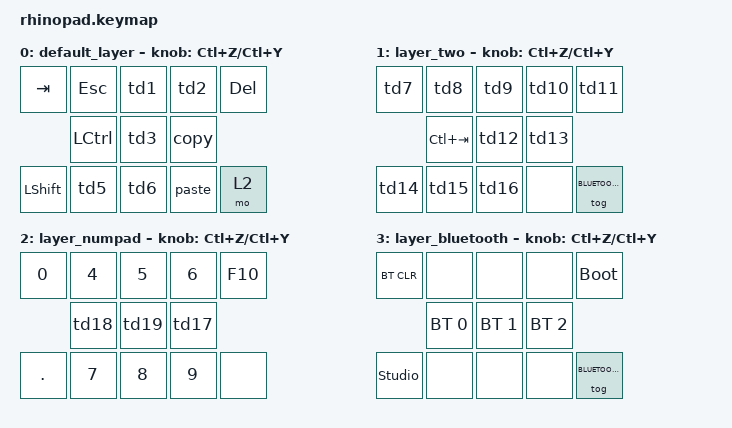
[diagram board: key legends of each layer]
#include <behaviors.dtsi>
#include <dt-bindings/zmk/keys.h>
#include <dt-bindings/zmk/bt.h>

&pinctrl {
    spi0_default: spi0_default {
        group1 {
            psels = <NRF_PSEL(SPIM_SCK, 0, 20)>,
                <NRF_PSEL(SPIM_MOSI, 0, 17)>,
                <NRF_PSEL(SPIM_MISO, 0, 25)>;
        };
    };
    spi0_sleep: spi0_sleep {
        group1 {
            psels = <NRF_PSEL(SPIM_SCK, 0, 20)>,
                <NRF_PSEL(SPIM_MOSI, 0, 17)>,
                <NRF_PSEL(SPIM_MISO, 0, 25)>;
            low-power-enable;
        };
    };
};

nice_view_spi: &spi0 {
    compatible = "nordic,nrf-spim";
    pinctrl-0 = <&spi0_default>;
    pinctrl-1 = <&spi0_sleep>;
    pinctrl-names = "default", "sleep";
    cs-gpios = <&pro_micro 1 GPIO_ACTIVE_HIGH>;
};

&pro_micro_i2c {
    status = "disabled";
};


#define LAYERZERO 0
#define LAYERTWO 1
#define NUMPAD 2
#define BLUETOOTH 3 

/ {

    behaviors {
        
    rot_kp: behavior_sensor_rotate_kp {
            compatible = "zmk,behavior-sensor-rotate-var";
            label = "ENC_KP";
            #sensor-binding-cells = <2>;
            bindings = <&kp>, <&kp>;
        };
       
    td1: tap_dance_1 {
            compatible = "zmk,behavior-tap-dance";
            label = "Move, Copy";
            #binding-cells = <0>;
            tapping-term-ms = <300>;
            bindings = <&kp LC(F1)>, <&kp LC(F2)>;
        };

    td2: tap_dance_2 {
            compatible = "zmk,behavior-tap-dance";
            label = "Split, Trim, Boolean Split";
            #binding-cells = <0>;
            tapping-term-ms = <300>;
            bindings = <&kp LC(F3)>, <&kp LC(F4)>, <&kp LC(F5)>;
        };

    td3: tap_dance_3 {
            compatible = "zmk,behavior-tap-dance";
            label = "Join, Explode, MergeCoplanarSrf";
            #binding-cells = <0>;
            tapping-term-ms = <300>;
            bindings = <&kp LC(F6)>, <&kp LC(F7)>, <&kp LC(LS(9))>;
        };

    td4: tap_dance_4 {
            compatible = "zmk,behavior-tap-dance";
            label = "Zoom Window, Zoom Selected";
            #binding-cells = <0>;
            tapping-term-ms = <300>;
            bindings = <&kp LC(F8)>, <&kp LC(F9)>;
        };

    td5: tap_dance_5 {
            compatible = "zmk,behavior-tap-dance";
            label = "Extrude Curve, Planarsrf";
            #binding-cells = <0>;
            tapping-term-ms = <300>;
            bindings = <&kp LC(F10)>, <&kp LC(F11)>;
        };

    td6: tap_dance_6 {
            compatible = "zmk,behavior-tap-dance";
            label = "Scale, Scale1D";
            #binding-cells = <0>;
            tapping-term-ms = <300>;
            bindings = <&kp LC(F12)>, <&kp LC(LS(F1))>;
        };

    td7: tap_dance_7 {
            compatible = "zmk,behavior-tap-dance";
            label = "Isolate, ";
            #binding-cells = <0>;
            tapping-term-ms = <300>;
            bindings = <&kp LC(LS(F2))>, <&kp LC(LS(F3))>;
        };

    td8: tap_dance_8 {
            compatible = "zmk,behavior-tap-dance";
            label = "BooleanUnion, CurveBoolean";
            #binding-cells = <0>;
            tapping-term-ms = <300>;
            bindings = <&kp LC(LS(F4))>, <&kp LC(LS(F5))>;
        };

    td9: tap_dance_9 {
            compatible = "zmk,behavior-tap-dance";
            label = "Rotate, Rotate3D";
            #binding-cells = <0>;
            tapping-term-ms = <300>;
            bindings = <&kp LC(LS(F6))>, <&kp LC(LS(F7))>;
        };

    td10: tap_dance_10 {
            compatible = "zmk,behavior-tap-dance";
            label = "Hide, Show";
            #binding-cells = <0>;
            tapping-term-ms = <300>;
            bindings = <&kp LC(LS(F8))>, <&kp LC(LS(F9))>;
        };
        
    td11: tap_dance_11 {
            compatible = "zmk,behavior-tap-dance";
            label = "Offset, OffsetSrf";
            #binding-cells = <0>;
            tapping-term-ms = <300>;
            bindings = <&kp LC(LS(F10))>, <&kp LC(LS(F11))>;
        };

    td12: tap_dance_12 {
            compatible = "zmk,behavior-tap-dance";
            label = "Untrim3D, ExtendSrf";
            #binding-cells = <0>;
            tapping-term-ms = <300>;
            bindings = <&kp LC(LS(F12))>, <&kp LC(N0)>, <&kp LC(LS(A))>;
        };

    td13: tap_dance_13 {
            compatible = "zmk,behavior-tap-dance";
            label = "ExtractSrf, DupEdge, DupBorder";
            #binding-cells = <0>;
            tapping-term-ms = <300>;
            bindings = <&kp LC(N1)>, <&kp LC(N2)>, <&kp LC(N3)>;
        };

    td14: tap_dance_14 {
            compatible = "zmk,behavior-tap-dance";
            label = "Select Last, ";
            #binding-cells = <0>;
            tapping-term-ms = <300>;
            bindings = <&kp LC(N4)>, <&kp LC(N5)>, <&kp LC(LS(B))>;
        };

    td15: tap_dance_15 {
            compatible = "zmk,behavior-tap-dance";
            label = " ";
            #binding-cells = <0>;
            tapping-term-ms = <300>;
            bindings = <&kp LC(N6)>, <&kp LC(N7)>, <&kp LC(LS(C))>;
        };

    td16: tap_dance_16 {
            compatible = "zmk,behavior-tap-dance";
            label = "Project, Project To CPlane";
            #binding-cells = <0>;
            tapping-term-ms = <300>;
            bindings = <&kp LC(N8)>, <&kp LC(N9)>, <&kp LC(LS(D))>;
        };

    td17: tap_dance_17 {
            compatible = "zmk,behavior-tap-dance";
            label = "TBC, TBC";
            #binding-cells = <0>;
            tapping-term-ms = <300>;
            bindings = <&kp LC(LS(N1))>, <&kp LC(LS(N2))>;
        };

    td18: tap_dance_18 {
            compatible = "zmk,behavior-tap-dance";
            label = "Cplane2Srf, ResetCplaneTop, 3ptCplane";
            #binding-cells = <0>;
            tapping-term-ms = <300>;
            bindings = <&kp LC(LS(N3))>, <&kp LC(LS(N4))>, <&kp LC(LS(N5))>;
        };

    td19: tap_dance_19 {
            compatible = "zmk,behavior-tap-dance";
            label = "ShadedView GhostedView, MaterialView";
            #binding-cells = <0>;
            tapping-term-ms = <300>;
            bindings = <&kp LC(LS(N6))>, <&kp LC(LS(N7))>, <&kp LC(LS(N8))>;
        };

    copy: copy {
            compatible = "zmk,behavior-mod-morph";
            label = "copy";
            #binding-cells = <0>;
            bindings = <&td4>, <&kp LC(C)>;
            mods = <(MOD_LSFT)>;
        };

    paste: paste {
            compatible = "zmk,behavior-mod-morph";
            label = "paste";
            #binding-cells = <0>;
            bindings = <&mo 1>, <&kp LC(V)>;
            mods = <(MOD_LSFT)>;
        };
    };


    keymap {

        compatible = "zmk,keymap";

        default_layer {

    /*
    * ,----------------------------------.                      
    * | TAB  | ESC  | td1  | td2  | DEL  |                      
    * `------+------+------+------+------`                      
    *        | CTRL | td3  | td4  |                           
    * ,------+------+------+------+------,  
    * | SHFT | td5  | td6  |  L2  |  L3  |  
    * `----------------------------------'  
    */                                        

    bindings = <   

        &kp TAB         &kp ESC              &td1            &td2             &kp DEL
                        &kp LCTRL            &td3            &copy                                    
        &kp LSHIFT      &td5                 &td6            &paste           &mo 2
        >; 
             
                sensor-bindings = <&rot_kp LC(Z) LC(Y)>;

        };

    layer_two {

    /*
    * ,----------------------------------.                      
    * | td7  | td8  | td9  | td10 | td11 |                      
    * `------+------+------+------+------`                      
    *        |LCTAB | td12 | td13 |                           
    * ,------+------+------+------+------,  
    * | td14 | td15 | td16 |  L2  | btl  |  
    * `----------------------------------'          
    */                                        

    bindings = <   

        &td7            &td8          &td9            &td10            &td11
                        &kp LC(TAB)   &td12           &td13                                    
        &td14           &td15         &td16           &none           &tog BLUETOOTH
        >;

        sensor-bindings = <&rot_kp LC(Z) LC(Y)>;

        };

        
    layer_numpad {

    /*
    * ,----------------------------------.                      
    * |   0  |   1  |   2  |   3  | F10 |                      
    * `------+------+------+------+------`                      
    *        |   4  |   5  |   6  |                           
    * ,------+------+------+------+------,  
    * |  .   |   7  |   8  |   9  |  L3  |  
    * `----------------------------------'        
    */                                       

    bindings = <   

        &kp N0       &kp N4        &kp N5        &kp N6       &kp F10
                     &td18         &td19         &td17                                   
        &kp DOT      &kp N7        &kp N8        &kp N9       &none
        >;

        sensor-bindings = <&rot_kp LC(Z) LC(Y)>;

    };

    layer_bluetooth {

    /*
    * ,----------------------------------.                      
    * | CLEAR|      |      |      |BTLDR |                      
    * `------+------+------+------+------`                      
    *        | PF1  | PF2  | PF3  |                           
    * ,------+------+------+------+------,  
    * |      |      |      |      | L-BT |  
    * `----------------------------------'          
    */                                        

    bindings = <   

        &bt BT_CLR      &none         &none           &none            &bootloader
                        &bt BT_SEL 0  &bt BT_SEL 1    &bt BT_SEL 2                                   
        &studio_unlock          &none         &none           &none            &tog BLUETOOTH
        >;

        sensor-bindings = <&rot_kp LC(Z) LC(Y)>;

        };
  };
};
